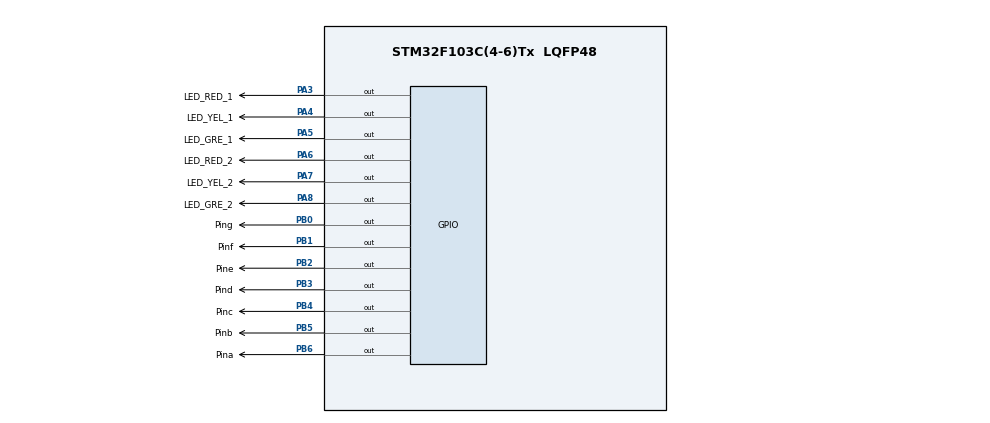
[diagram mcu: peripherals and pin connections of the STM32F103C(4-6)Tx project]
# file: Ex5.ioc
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Mcu.Family=STM32F1
Mcu.Name=STM32F103C(4-6)Tx
Mcu.Package=LQFP48
NVIC.PriorityGroup=NVIC_PRIORITYGROUP_4
PA3.GPIO_Label=LED_RED_1
PA3.Signal=GPIO_Output
PA4.GPIO_Label=LED_YEL_1
PA4.Signal=GPIO_Output
PA5.GPIO_Label=LED_GRE_1
PA5.Signal=GPIO_Output
PA6.GPIO_Label=LED_RED_2
PA6.Signal=GPIO_Output
PA7.GPIO_Label=LED_YEL_2
PA7.Signal=GPIO_Output
PA8.GPIO_Label=LED_GRE_2
PA8.Signal=GPIO_Output
PB0.GPIO_Label=Ping
PB0.Signal=GPIO_Output
PB1.GPIO_Label=Pinf
PB1.Signal=GPIO_Output
PB2.GPIO_Label=Pine
PB2.Signal=GPIO_Output
PB3.GPIO_Label=Pind
PB3.Signal=GPIO_Output
PB4.GPIO_Label=Pinc
PB4.Signal=GPIO_Output
PB5.GPIO_Label=Pinb
PB5.Signal=GPIO_Output
PB6.GPIO_Label=Pina
PB6.Signal=GPIO_Output
ProjectManager.HeapSize=0x200
ProjectManager.StackSize=0x400
ProjectManager.TargetToolchain=STM32CubeIDE
RCC.APB1Freq_Value=8000000
RCC.APB2Freq_Value=8000000
VP_SYS_VS_ND.Mode=No_Debug
board=custom

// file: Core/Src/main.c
/* USER CODE BEGIN Header */
/**
  ******************************************************************************
  * @file           : main.c
  * @brief          : Main program body
  ******************************************************************************
  * @attention
  *
  * <h2><center>&copy; Copyright (c) 2023 STMicroelectronics.
  * All rights reserved.</center></h2>
  *
  * This software component is licensed by ST under BSD 3-Clause license,
  * the "License"; You may not use this file except in compliance with the
  * License. You may obtain a copy of the License at:
  *                        opensource.org/licenses/BSD-3-Clause
  *
  ******************************************************************************
  */
/* USER CODE END Header */
#include "main.h"

void SystemClock_Config(void);
static void MX_GPIO_Init(void);

/* USER CODE BEGIN 0 */
void display7SEG(int num){
	if(num ==0){
			  HAL_GPIO_WritePin(Pina_GPIO_Port, Pina_Pin, RESET);
			  HAL_GPIO_WritePin(Pinb_GPIO_Port, Pinb_Pin, RESET);
			  HAL_GPIO_WritePin(Pinc_GPIO_Port, Pinc_Pin, RESET);
			  HAL_GPIO_WritePin(Pind_GPIO_Port, Pind_Pin, RESET);
			  HAL_GPIO_WritePin(Pine_GPIO_Port, Pine_Pin, RESET);
			  HAL_GPIO_WritePin(Pinf_GPIO_Port, Pinf_Pin, RESET);
			  HAL_GPIO_WritePin(Ping_GPIO_Port, Ping_Pin, SET);
		  }
		  if(num == 1){
			  HAL_GPIO_WritePin(Pina_GPIO_Port, Pina_Pin, SET);
			  HAL_GPIO_WritePin(Pinb_GPIO_Port, Pinb_Pin, RESET);
			  HAL_GPIO_WritePin(Pinc_GPIO_Port, Pinc_Pin, RESET);
			  HAL_GPIO_WritePin(Pind_GPIO_Port, Pind_Pin, SET);
			  HAL_GPIO_WritePin(Pine_GPIO_Port, Pine_Pin, SET);
			  HAL_GPIO_WritePin(Pinf_GPIO_Port, Pinf_Pin, SET);
			  HAL_GPIO_WritePin(Ping_GPIO_Port, Ping_Pin, SET);
		  }
		  if(num == 2){
			  HAL_GPIO_WritePin(Pina_GPIO_Port, Pina_Pin, RESET);
			  HAL_GPIO_WritePin(Pinb_GPIO_Port, Pinb_Pin, RESET);
			  HAL_GPIO_WritePin(Pinc_GPIO_Port, Pinc_Pin, SET);
			  HAL_GPIO_WritePin(Pind_GPIO_Port, Pind_Pin, RESET);
			  HAL_GPIO_WritePin(Pine_GPIO_Port, Pine_Pin, RESET);
			  HAL_GPIO_WritePin(Pinf_GPIO_Port, Pinf_Pin, SET);
			  HAL_GPIO_WritePin(Ping_GPIO_Port, Ping_Pin, RESET);
		  }
		  if(num == 3){
			  HAL_GPIO_WritePin(Pina_GPIO_Port, Pina_Pin, RESET);
			  HAL_GPIO_WritePin(Pinb_GPIO_Port, Pinb_Pin, RESET);
			  HAL_GPIO_WritePin(Pinc_GPIO_Port, Pinc_Pin, RESET);
			  HAL_GPIO_WritePin(Pind_GPIO_Port, Pind_Pin, RESET);
			  HAL_GPIO_WritePin(Pine_GPIO_Port, Pine_Pin, SET);
			  HAL_GPIO_WritePin(Pinf_GPIO_Port, Pinf_Pin, SET);
			  HAL_GPIO_WritePin(Ping_GPIO_Port, Ping_Pin, RESET);
		  }
		  if(num == 4){
			  HAL_GPIO_WritePin(Pina_GPIO_Port, Pina_Pin, SET);
			  HAL_GPIO_WritePin(Pinb_GPIO_Port, Pinb_Pin, RESET);
			  HAL_GPIO_WritePin(Pinc_GPIO_Port, Pinc_Pin, RESET);
			  HAL_GPIO_WritePin(Pind_GPIO_Port, Pind_Pin, SET);
			  HAL_GPIO_WritePin(Pine_GPIO_Port, Pine_Pin, SET);
			  HAL_GPIO_WritePin(Pinf_GPIO_Port, Pinf_Pin, RESET);
			  HAL_GPIO_WritePin(Ping_GPIO_Port, Ping_Pin, RESET);
		  }
		  if(num == 5){
			  HAL_GPIO_WritePin(Pina_GPIO_Port, Pina_Pin, RESET);
			  HAL_GPIO_WritePin(Pinb_GPIO_Port, Pinb_Pin, SET);
			  HAL_GPIO_WritePin(Pinc_GPIO_Port, Pinc_Pin, RESET);
			  HAL_GPIO_WritePin(Pind_GPIO_Port, Pind_Pin, RESET);
			  HAL_GPIO_WritePin(Pine_GPIO_Port, Pine_Pin, SET);
			  HAL_GPIO_WritePin(Pinf_GPIO_Port, Pinf_Pin, RESET);
			  HAL_GPIO_WritePin(Ping_GPIO_Port, Ping_Pin, RESET);
		  }
		  if(num == 6){
			  HAL_GPIO_WritePin(Pina_GPIO_Port, Pina_Pin, RESET);
			  HAL_GPIO_WritePin(Pinb_GPIO_Port, Pinb_Pin, SET);
			  HAL_GPIO_WritePin(Pinc_GPIO_Port, Pinc_Pin, RESET);
			  HAL_GPIO_WritePin(Pind_GPIO_Port, Pind_Pin, RESET);
			  HAL_GPIO_WritePin(Pine_GPIO_Port, Pine_Pin, RESET);
			  HAL_GPIO_WritePin(Pinf_GPIO_Port, Pinf_Pin, RESET);
			  HAL_GPIO_WritePin(Ping_GPIO_Port, Ping_Pin, RESET);
		  }
		  if(num == 7){
			  HAL_GPIO_WritePin(Pina_GPIO_Port, Pina_Pin, RESET);
			  HAL_GPIO_WritePin(Pinb_GPIO_Port, Pinb_Pin, RESET);
			  HAL_GPIO_WritePin(Pinc_GPIO_Port, Pinc_Pin, RESET);
			  HAL_GPIO_WritePin(Pind_GPIO_Port, Pind_Pin, SET);
			  HAL_GPIO_WritePin(Pine_GPIO_Port, Pine_Pin, SET);
			  HAL_GPIO_WritePin(Pinf_GPIO_Port, Pinf_Pin, SET);
			  HAL_GPIO_WritePin(Ping_GPIO_Port, Ping_Pin, SET);
		  }
		  if(num == 8){
			  HAL_GPIO_WritePin(Pina_GPIO_Port, Pina_Pin, RESET);
			  HAL_GPIO_WritePin(Pinb_GPIO_Port, Pinb_Pin, RESET);
			  HAL_GPIO_WritePin(Pinc_GPIO_Port, Pinc_Pin, RESET);
			  HAL_GPIO_WritePin(Pind_GPIO_Port, Pind_Pin, RESET);
			  HAL_GPIO_WritePin(Pine_GPIO_Port, Pine_Pin, RESET);
			  HAL_GPIO_WritePin(Pinf_GPIO_Port, Pinf_Pin, RESET);
			  HAL_GPIO_WritePin(Ping_GPIO_Port, Ping_Pin, RESET);
		  }
		  if(num == 9){
			  HAL_GPIO_WritePin(Pina_GPIO_Port, Pina_Pin, RESET);
			  HAL_GPIO_WritePin(Pinb_GPIO_Port, Pinb_Pin, RESET);
			  HAL_GPIO_WritePin(Pinc_GPIO_Port, Pinc_Pin, RESET);
			  HAL_GPIO_WritePin(Pind_GPIO_Port, Pind_Pin, RESET);
			  HAL_GPIO_WritePin(Pine_GPIO_Port, Pine_Pin, RESET);
			  HAL_GPIO_WritePin(Pinf_GPIO_Port, Pinf_Pin, SET);
			  HAL_GPIO_WritePin(Ping_GPIO_Port, Ping_Pin, RESET);
		  }

}

/* USER CODE END 0 */

int main(void)
{

  /* MCU Configuration--------------------------------------------------------*/

  /* Reset of all peripherals, Initializes the Flash interface and the Systick. */
  HAL_Init();

  /* Configure the system clock */
  SystemClock_Config();

  /* Initialize all configured peripherals */
  MX_GPIO_Init();

  /* Infinite loop */
  /* USER CODE BEGIN WHILE */
  int time1=5;
    int time2=3;
    HAL_GPIO_WritePin(LED_RED_1_GPIO_Port, LED_RED_1_Pin, SET);
    HAL_GPIO_WritePin(LED_RED_2_GPIO_Port, LED_RED_2_Pin, RESET);

    HAL_GPIO_WritePin(LED_YEL_1_GPIO_Port, LED_YEL_1_Pin, RESET);
    HAL_GPIO_WritePin(LED_YEL_2_GPIO_Port, LED_YEL_2_Pin, RESET);

    HAL_GPIO_WritePin(LED_GRE_1_GPIO_Port, LED_GRE_1_Pin, RESET);
    HAL_GPIO_WritePin(LED_GRE_2_GPIO_Port, LED_GRE_2_Pin, SET);

    while (1)
    {
  	  if(HAL_GPIO_ReadPin(LED_RED_1_GPIO_Port, LED_RED_1_Pin) == GPIO_PIN_SET){
  	  		  if(time1 <=0){
  	  			  HAL_GPIO_TogglePin(LED_RED_1_GPIO_Port, LED_RED_1_Pin);
  	  			  HAL_GPIO_TogglePin(LED_GRE_1_GPIO_Port, LED_GRE_1_Pin);
  	  			  time1=3;
  	  		  }
  	  	  }
  	  	  if(HAL_GPIO_ReadPin(LED_GRE_1_GPIO_Port, LED_GRE_1_Pin) == GPIO_PIN_SET){
  	  		  if(time1 <= 0){
  	  			  HAL_GPIO_TogglePin(LED_GRE_1_GPIO_Port, LED_GRE_1_Pin);
  	  		      HAL_GPIO_TogglePin(LED_YEL_1_GPIO_Port, LED_YEL_1_Pin);
  	  			  time1=2;
  	  		  }
  	  	  }
  	  	  if(HAL_GPIO_ReadPin(LED_YEL_1_GPIO_Port, LED_YEL_1_Pin) == GPIO_PIN_SET){
  	  		  if(time1<= 0){
  	  			  HAL_GPIO_TogglePin(LED_RED_1_GPIO_Port, LED_RED_1_Pin);
  	  			  HAL_GPIO_TogglePin(LED_YEL_1_GPIO_Port, LED_YEL_1_Pin);
  	  			  time1=5;
  	  		  }
  	  	  }
  		if (HAL_GPIO_ReadPin(LED_RED_2_GPIO_Port, LED_RED_2_Pin)
  				== GPIO_PIN_SET) {
  			if (time2 <= 0) {
  				HAL_GPIO_TogglePin(LED_RED_2_GPIO_Port, LED_RED_2_Pin);
  				HAL_GPIO_TogglePin(LED_GRE_2_GPIO_Port, LED_GRE_2_Pin);
  				time2 = 3;
  			}
  		}
  		if (HAL_GPIO_ReadPin(LED_GRE_2_GPIO_Port, LED_GRE_2_Pin)
  				== GPIO_PIN_SET) {
  			if (time2 <= 0) {
  				HAL_GPIO_TogglePin(LED_GRE_2_GPIO_Port, LED_GRE_2_Pin);
  				HAL_GPIO_TogglePin(LED_YEL_2_GPIO_Port, LED_YEL_2_Pin);
  				time2 = 2;
  			}
  		}
  		if (HAL_GPIO_ReadPin(LED_YEL_2_GPIO_Port, LED_YEL_2_Pin)
  				== GPIO_PIN_SET) {
  			if (time2 <= 0) {
  				HAL_GPIO_TogglePin(LED_RED_2_GPIO_Port, LED_RED_2_Pin);
  				HAL_GPIO_TogglePin(LED_YEL_2_GPIO_Port, LED_YEL_2_Pin);
  				time2 = 5;
  			}
  		}
  	  time1--;
  	  time2--;

  	  HAL_Delay(1000);
    /* USER CODE END WHILE */

  }
}

void SystemClock_Config(void)
{
  RCC_OscInitTypeDef RCC_OscInitStruct = {0};
  RCC_ClkInitTypeDef RCC_ClkInitStruct = {0};

  /** Initializes the RCC Oscillators according to the specified parameters
  * in the RCC_OscInitTypeDef structure.
  */
  RCC_OscInitStruct.OscillatorType = RCC_OSCILLATORTYPE_HSI;
  RCC_OscInitStruct.HSIState = RCC_HSI_ON;
  RCC_OscInitStruct.HSICalibrationValue = RCC_HSICALIBRATION_DEFAULT;
  RCC_OscInitStruct.PLL.PLLState = RCC_PLL_NONE;
  if (HAL_RCC_OscConfig(&RCC_OscInitStruct) != HAL_OK)
  {
    Error_Handler();
  }
  /** Initializes the CPU, AHB and APB buses clocks
  */
  RCC_ClkInitStruct.ClockType = RCC_CLOCKTYPE_HCLK|RCC_CLOCKTYPE_SYSCLK
                              |RCC_CLOCKTYPE_PCLK1|RCC_CLOCKTYPE_PCLK2;
  RCC_ClkInitStruct.SYSCLKSource = RCC_SYSCLKSOURCE_HSI;
  RCC_ClkInitStruct.AHBCLKDivider = RCC_SYSCLK_DIV1;
  RCC_ClkInitStruct.APB1CLKDivider = RCC_HCLK_DIV1;
  RCC_ClkInitStruct.APB2CLKDivider = RCC_HCLK_DIV1;

  if (HAL_RCC_ClockConfig(&RCC_ClkInitStruct, FLASH_LATENCY_0) != HAL_OK)
  {
    Error_Handler();
  }
}

static void MX_GPIO_Init(void)
{
  GPIO_InitTypeDef GPIO_InitStruct = {0};

  /* GPIO Ports Clock Enable */
  __HAL_RCC_GPIOA_CLK_ENABLE();
  __HAL_RCC_GPIOB_CLK_ENABLE();

  /*Configure GPIO pin Output Level */
  HAL_GPIO_WritePin(GPIOA, LED_RED_1_Pin|LED_YEL_1_Pin|LED_GRE_1_Pin|LED_RED_2_Pin
                          |LED_YEL_2_Pin|LED_GRE_2_Pin, GPIO_PIN_RESET);

  /*Configure GPIO pin Output Level */
  HAL_GPIO_WritePin(GPIOB, Ping_Pin|Pinf_Pin|Pine_Pin|Pind_Pin
                          |Pinc_Pin|Pinb_Pin|Pina_Pin, GPIO_PIN_RESET);

  /*Configure GPIO pins : LED_RED_1_Pin LED_YEL_1_Pin LED_GRE_1_Pin LED_RED_2_Pin
                           LED_YEL_2_Pin LED_GRE_2_Pin */
  GPIO_InitStruct.Pin = LED_RED_1_Pin|LED_YEL_1_Pin|LED_GRE_1_Pin|LED_RED_2_Pin
                          |LED_YEL_2_Pin|LED_GRE_2_Pin;
  GPIO_InitStruct.Mode = GPIO_MODE_OUTPUT_PP;
  GPIO_InitStruct.Pull = GPIO_NOPULL;
  GPIO_InitStruct.Speed = GPIO_SPEED_FREQ_LOW;
  HAL_GPIO_Init(GPIOA, &GPIO_InitStruct);

  /*Configure GPIO pins : Ping_Pin Pinf_Pin Pine_Pin Pind_Pin
                           Pinc_Pin Pinb_Pin Pina_Pin */
  GPIO_InitStruct.Pin = Ping_Pin|Pinf_Pin|Pine_Pin|Pind_Pin
                          |Pinc_Pin|Pinb_Pin|Pina_Pin;
  GPIO_InitStruct.Mode = GPIO_MODE_OUTPUT_PP;
  GPIO_InitStruct.Pull = GPIO_NOPULL;
  GPIO_InitStruct.Speed = GPIO_SPEED_FREQ_LOW;
  HAL_GPIO_Init(GPIOB, &GPIO_InitStruct);

}

void Error_Handler(void)
{
  __disable_irq();
  while (1)
  {
  }
}

/************************ (C) COPYRIGHT STMicroelectronics *****END OF FILE****/
